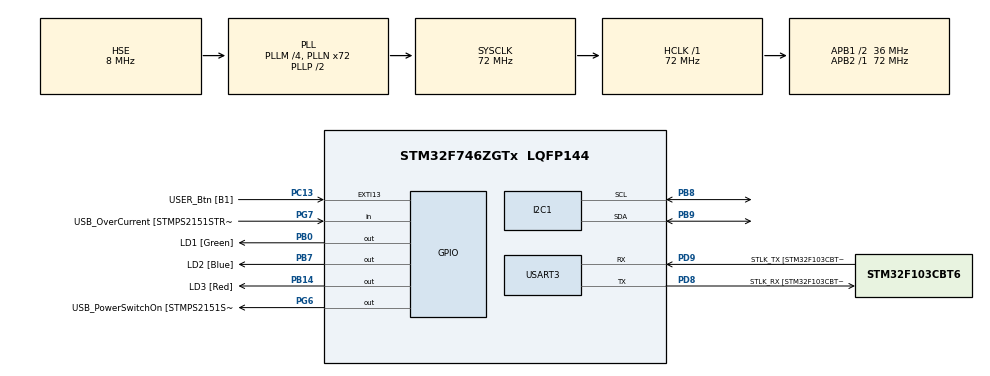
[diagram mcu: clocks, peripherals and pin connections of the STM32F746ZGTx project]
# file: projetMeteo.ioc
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I2C1.Timing=0x00808CD2
Mcu.Family=STM32F7
Mcu.Name=STM32F746ZGTx
Mcu.Package=LQFP144
NVIC.PriorityGroup=NVIC_PRIORITYGROUP_4
PA1.GPIO_Label=RMII_REF_CLK [LAN8742A-CZ-TR_REFCLK0]
PA1.Signal=ETH_REF_CLK
PA10.GPIO_Label=USB_ID
PA10.Signal=USB_OTG_FS_ID
PA11.GPIO_Label=USB_DM
PA11.Signal=USB_OTG_FS_DM
PA12.GPIO_Label=USB_DP
PA12.Signal=USB_OTG_FS_DP
PA13.GPIO_Label=TMS
PA13.Mode=Serial_Wire
PA13.Signal=SYS_JTMS-SWDIO
PA14.GPIO_Label=TCK
PA14.Mode=Serial_Wire
PA14.Signal=SYS_JTCK-SWCLK
PA2.GPIO_Label=RMII_MDIO [LAN8742A-CZ-TR_MDIO]
PA2.Signal=ETH_MDIO
PA7.GPIO_Label=RMII_CRS_DV [LAN8742A-CZ-TR_CRS_DV]
PA7.Signal=ETH_CRS_DV
PA8.GPIO_Label=USB_SOF [TP1]
PA8.Signal=USB_OTG_FS_SOF
PA9.GPIO_Label=USB_VBUS
PA9.Signal=USB_OTG_FS_VBUS
PB0.GPIO_Label=LD1 [Green]
PB0.Signal=GPIO_Output
PB13.GPIO_Label=RMII_TXD1 [LAN8742A-CZ-TR_TXD1]
PB13.Signal=ETH_TXD1
PB14.GPIO_Label=LD3 [Red]
PB14.Signal=GPIO_Output
PB3.GPIO_Label=SW0
PB3.Signal=SYS_JTDO-SWO
PB7.GPIO_Label=LD2 [Blue]
PB7.Signal=GPIO_Output
PB8.Mode=I2C
PB8.Signal=I2C1_SCL
PB9.Mode=I2C
PB9.Signal=I2C1_SDA
PC1.GPIO_Label=RMII_MDC [LAN8742A-CZ-TR_MDC]
PC1.Signal=ETH_MDC
PC13.GPIO_Label=USER_Btn [B1]
PC13.Signal=GPXTI13
PC14/OSC32_IN.Mode=LSE-External-Oscillator
PC14/OSC32_IN.Signal=RCC_OSC32_IN
PC15/OSC32_OUT.Mode=LSE-External-Oscillator
PC15/OSC32_OUT.Signal=RCC_OSC32_OUT
PC4.GPIO_Label=RMII_RXD0 [LAN8742A-CZ-TR_RXD0]
PC4.Signal=ETH_RXD0
PC5.GPIO_Label=RMII_RXD1 [LAN8742A-CZ-TR_RXD1]
PC5.Signal=ETH_RXD1
PD8.GPIO_Label=STLK_RX [STM32F103CBT6_PA3]
PD8.Mode=Asynchronous
PD8.Signal=USART3_TX
PD9.GPIO_Label=STLK_TX [STM32F103CBT6_PA2]
PD9.Mode=Asynchronous
PD9.Signal=USART3_RX
PG11.GPIO_Label=RMII_TX_EN [LAN8742A-CZ-TR_TXEN]
PG11.Signal=ETH_TX_EN
PG13.GPIO_Label=RMII_TXD0 [LAN8742A-CZ-TR_TXD0]
PG13.Signal=ETH_TXD0
PG6.GPIO_Label=USB_PowerSwitchOn [STMPS2151STR_EN]
PG6.Signal=GPIO_Output
PG7.GPIO_Label=USB_OverCurrent [STMPS2151STR_FAULT]
PG7.Signal=GPIO_Input
PH0/OSC_IN.GPIO_Label=MCO [STM32F103CBT6_PA8]
PH0/OSC_IN.Mode=HSE-External-Clock-Source
PH0/OSC_IN.Signal=RCC_OSC_IN
PH1/OSC_OUT.Mode=HSE-External-Clock-Source
PH1/OSC_OUT.Signal=RCC_OSC_OUT
ProjectManager.HeapSize=0x200
ProjectManager.StackSize=0x400
ProjectManager.TargetToolchain=STM32CubeIDE
RCC.48MHZClocksFreq_Value=24000000
RCC.AHBFreq_Value=72000000
RCC.APB1CLKDivider=RCC_HCLK_DIV2
RCC.APB1Freq_Value=36000000
RCC.APB1TimFreq_Value=72000000
RCC.APB2Freq_Value=72000000
RCC.APB2TimFreq_Value=72000000
RCC.CortexFreq_Value=72000000
RCC.HCLKFreq_Value=72000000
RCC.HSE_VALUE=8000000
RCC.HSI_VALUE=16000000
RCC.PLLM=4
RCC.PLLMUL=RCC_PLL_MUL9
RCC.PLLN=72
RCC.PLLQ=3
RCC.PLLSourceVirtual=RCC_PLLSOURCE_HSE
RCC.PRESCALERUSB=RCC_USBCLKSOURCE_PLL_DIV1_5
RCC.SYSCLKFreq_VALUE=72000000
RCC.SYSCLKSource=RCC_SYSCLKSOURCE_PLLCLK
RCC.SYSCLKSourceVirtual=RCC_SYSCLKSOURCE_PLLCLK
RCC.USBFreq_Value=48000000
RCC.VCOOutputFreq_Value=144000000
USART3.VirtualMode-Asynchronous=VM_ASYNC
board=NUCLEO-F746ZG

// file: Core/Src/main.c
/* USER CODE BEGIN Header */
/**
  ******************************************************************************
  * @file           : main.c
  * @brief          : Main program body
  ******************************************************************************
  * @attention
  *
  * Copyright (c) 2022 STMicroelectronics.
  * All rights reserved.
  *
  * This software is licensed under terms that can be found in the LICENSE file
  * in the root directory of this software component.
  * If no LICENSE file comes with this software, it is provided AS-IS.
  *
  ******************************************************************************
  */
/* USER CODE END Header */
#include "main.h"
#include "i2c.h"
#include "usart.h"
#include "gpio.h"

/* USER CODE BEGIN Includes */
#include <stdio.h>
/* USER CODE END Includes */

/* USER CODE BEGIN PTD */
typedef enum PressureDataRate{
	PRESSURE_DATA_RATE_ONE_SHOT = 0b00000000,
	PRESSURE_DATA_RATE_1Hz = 0b00010000,
	PRESSURE_DATA_RATE_7Hz = 0b00100000,
	PRESSURE_DATA_RATE_12_5Hz = 0b00110000,
	PRESSURE_DATA_RATE_25Hz = 0b01000000
}PressureDataRate;
/* USER CODE END PTD */

/* USER CODE BEGIN PD */
#define PRESSURE_SENSOR_ADDR 0b10111010
#define HUMIDITY_TEMPERATURE_SENSOR_ADDR 0b10111110

#define POWER_DOWN 0b10000000
/* USER CODE END PD */

/* USER CODE BEGIN PV */
uint16_t i=0;
uint8_t ret;
uint8_t data;
uint8_t rawPressureData[3];
int32_t pressureData;
float pressure;
uint8_t rawTemperatureData[2];
int16_t temperatureData;
float temperature;

uint8_t rawTemperatureData2[2];
int16_t temperatureData2;
float temperature2;

uint8_t rawT0[2];
uint8_t rawT1[2];
uint8_t Tdeg[2];
uint8_t t0t1MSB;
float RealTdeg0;
float RealTdeg1;
int16_t T0;
int16_t T1;

uint8_t rawHumidityData[2];
int16_t humidityData;
float humidity;

uint8_t rawH0[2];
uint8_t rawH1[2];
uint8_t Hdeg[2];
int16_t H0;
int16_t H1;
float Halpha;

/* USER CODE END PV */

void SystemClock_Config(void);

/* USER CODE BEGIN 0 */
int __io_putchar(int ch)
{
	HAL_UART_Transmit(&huart3,(uint8_t*)&ch,1,HAL_MAX_DELAY);
	return ch;
}

float lerp(float a, float b, float alpha){
	return (b - a) * alpha + a;
}
/* USER CODE END 0 */

int main(void)
{

  /* MCU Configuration--------------------------------------------------------*/

  /* Reset of all peripherals, Initializes the Flash interface and the Systick. */
  HAL_Init();

  /* Configure the system clock */
  SystemClock_Config();

  /* Initialize all configured peripherals */
  MX_GPIO_Init();
  MX_USART3_UART_Init();
  MX_I2C1_Init();

  /* USER CODE BEGIN 2 */

  data = (uint8_t)(PRESSURE_DATA_RATE_7Hz | POWER_DOWN);
  HAL_I2C_Mem_Write(&hi2c1, PRESSURE_SENSOR_ADDR, 0x20, 1, &data, 1, 50);
  data = 0;
  HAL_I2C_Mem_Write(&hi2c1, PRESSURE_SENSOR_ADDR, 0x10, 1, &data, 1, 50);

  data = POWER_DOWN | 0b00000010;
  HAL_I2C_Mem_Write(&hi2c1, HUMIDITY_TEMPERATURE_SENSOR_ADDR, 0x20, 1, &data, 1, 50);

  HAL_I2C_Mem_Read(&hi2c1, HUMIDITY_TEMPERATURE_SENSOR_ADDR, 0x3C, 1, &rawT0[0], 1, 50);
  HAL_I2C_Mem_Read(&hi2c1, HUMIDITY_TEMPERATURE_SENSOR_ADDR, 0x3D, 1, &rawT0[1], 1, 50);
  HAL_I2C_Mem_Read(&hi2c1, HUMIDITY_TEMPERATURE_SENSOR_ADDR, 0x3E, 1, &rawT1[0], 1, 50);
  HAL_I2C_Mem_Read(&hi2c1, HUMIDITY_TEMPERATURE_SENSOR_ADDR, 0x3F, 1, &rawT1[1], 1, 50);
  HAL_I2C_Mem_Read(&hi2c1, HUMIDITY_TEMPERATURE_SENSOR_ADDR, 0x32, 1, &Tdeg[0], 1, 50);
  HAL_I2C_Mem_Read(&hi2c1, HUMIDITY_TEMPERATURE_SENSOR_ADDR, 0x33, 1, &Tdeg[1], 1, 50);
  HAL_I2C_Mem_Read(&hi2c1, HUMIDITY_TEMPERATURE_SENSOR_ADDR, 0x35, 1, &t0t1MSB, 1, 50);

  T0 = rawT0[0] + (rawT0[1] << 8);
  T1 = rawT1[0] + (rawT1[1] << 8);

  HAL_I2C_Mem_Read(&hi2c1, HUMIDITY_TEMPERATURE_SENSOR_ADDR, 0x36, 1, &rawH0[0], 1, 50);
  HAL_I2C_Mem_Read(&hi2c1, HUMIDITY_TEMPERATURE_SENSOR_ADDR, 0x37, 1, &rawH0[1], 1, 50);
  HAL_I2C_Mem_Read(&hi2c1, HUMIDITY_TEMPERATURE_SENSOR_ADDR, 0x3A, 1, &rawH1[0], 1, 50);
  HAL_I2C_Mem_Read(&hi2c1, HUMIDITY_TEMPERATURE_SENSOR_ADDR, 0x3B, 1, &rawH1[1], 1, 50);
  HAL_I2C_Mem_Read(&hi2c1, HUMIDITY_TEMPERATURE_SENSOR_ADDR, 0x30, 1, &Hdeg[0], 1, 50);
  HAL_I2C_Mem_Read(&hi2c1, HUMIDITY_TEMPERATURE_SENSOR_ADDR, 0x31, 1, &Hdeg[1], 1, 50);

  H0 = rawH0[0] + (rawH0[1] << 8);
  H1 = rawH1[0] + (rawH1[1] << 8);

  /* USER CODE END 2 */

  /* Infinite loop */
  while (1)
  {
	  HAL_Delay(1000);

	  HAL_I2C_Mem_Read(&hi2c1, PRESSURE_SENSOR_ADDR, 0x28, 1, &rawPressureData[0], 1, 50);
	  HAL_I2C_Mem_Read(&hi2c1, PRESSURE_SENSOR_ADDR, 0x29, 1, &rawPressureData[1], 1, 50);
	  HAL_I2C_Mem_Read(&hi2c1, PRESSURE_SENSOR_ADDR, 0x2A, 1, &rawPressureData[2], 1, 50);

	  HAL_I2C_Mem_Read(&hi2c1, PRESSURE_SENSOR_ADDR, 0x2B, 1, &rawTemperatureData[0], 1, 50);
	  HAL_I2C_Mem_Read(&hi2c1, PRESSURE_SENSOR_ADDR, 0x2C, 1, &rawTemperatureData[1], 1, 50);

	  pressureData = rawPressureData[0];
	  pressureData |= (rawPressureData[1] << 8);
	  if(rawPressureData[2] & 0x80){
		  pressureData |= (rawPressureData[2] << 16);
		  pressureData |= (0xFF << 24);
	  }else{
		  pressureData |= (rawPressureData[2] << 16);
	  }
	  pressure = pressureData/4096.0;

	  temperatureData = rawTemperatureData[0] + (rawTemperatureData[1] << 8);
	  temperature = 42.5 + temperatureData/480.0;

	  HAL_I2C_Mem_Read(&hi2c1, HUMIDITY_TEMPERATURE_SENSOR_ADDR, 0x2A, 1, &rawTemperatureData2[0], 1, 50);
	  HAL_I2C_Mem_Read(&hi2c1, HUMIDITY_TEMPERATURE_SENSOR_ADDR, 0x2B, 1, &rawTemperatureData2[1], 1, 50);

	  temperatureData2 = rawTemperatureData2[0] + (rawTemperatureData2[1] << 8);
	  RealTdeg0 = (((uint16_t)Tdeg[0] + (((uint16_t)t0t1MSB & 0b11) << 8)))/8.0;
	  RealTdeg1 = (((uint16_t)Tdeg[1] + (((uint16_t)t0t1MSB & 0b1100) << 6)))/8.0;
	  temperature2 = lerp(RealTdeg0, RealTdeg1, (float)(temperatureData2 - T0)/(T1-T0));

	  HAL_I2C_Mem_Read(&hi2c1, HUMIDITY_TEMPERATURE_SENSOR_ADDR, 0x28, 1, &rawHumidityData[0], 1, 50);
	  HAL_I2C_Mem_Read(&hi2c1, HUMIDITY_TEMPERATURE_SENSOR_ADDR, 0x29, 1, &rawHumidityData[1], 1, 50);

	  humidityData = rawHumidityData[0] + (rawHumidityData[1] << 8);
	  Halpha = (float)(humidityData - H0)/(H1-H0);
	  humidity = lerp(Hdeg[0]/2.0, Hdeg[1]/2.0, Halpha);

  }
}

void SystemClock_Config(void)
{
  RCC_OscInitTypeDef RCC_OscInitStruct = {0};
  RCC_ClkInitTypeDef RCC_ClkInitStruct = {0};

  /** Configure LSE Drive Capability
  */
  HAL_PWR_EnableBkUpAccess();

  /** Configure the main internal regulator output voltage
  */
  __HAL_RCC_PWR_CLK_ENABLE();
  __HAL_PWR_VOLTAGESCALING_CONFIG(PWR_REGULATOR_VOLTAGE_SCALE3);

  /** Initializes the RCC Oscillators according to the specified parameters
  * in the RCC_OscInitTypeDef structure.
  */
  RCC_OscInitStruct.OscillatorType = RCC_OSCILLATORTYPE_HSE;
  RCC_OscInitStruct.HSEState = RCC_HSE_BYPASS;
  RCC_OscInitStruct.PLL.PLLState = RCC_PLL_ON;
  RCC_OscInitStruct.PLL.PLLSource = RCC_PLLSOURCE_HSE;
  RCC_OscInitStruct.PLL.PLLM = 4;
  RCC_OscInitStruct.PLL.PLLN = 72;
  RCC_OscInitStruct.PLL.PLLP = RCC_PLLP_DIV2;
  RCC_OscInitStruct.PLL.PLLQ = 3;
  if (HAL_RCC_OscConfig(&RCC_OscInitStruct) != HAL_OK)
  {
    Error_Handler();
  }

  /** Initializes the CPU, AHB and APB buses clocks
  */
  RCC_ClkInitStruct.ClockType = RCC_CLOCKTYPE_HCLK|RCC_CLOCKTYPE_SYSCLK
                              |RCC_CLOCKTYPE_PCLK1|RCC_CLOCKTYPE_PCLK2;
  RCC_ClkInitStruct.SYSCLKSource = RCC_SYSCLKSOURCE_PLLCLK;
  RCC_ClkInitStruct.AHBCLKDivider = RCC_SYSCLK_DIV1;
  RCC_ClkInitStruct.APB1CLKDivider = RCC_HCLK_DIV2;
  RCC_ClkInitStruct.APB2CLKDivider = RCC_HCLK_DIV1;

  if (HAL_RCC_ClockConfig(&RCC_ClkInitStruct, FLASH_LATENCY_2) != HAL_OK)
  {
    Error_Handler();
  }
}

void Error_Handler(void)
{
  __disable_irq();
  while (1)
  {
  }
}
